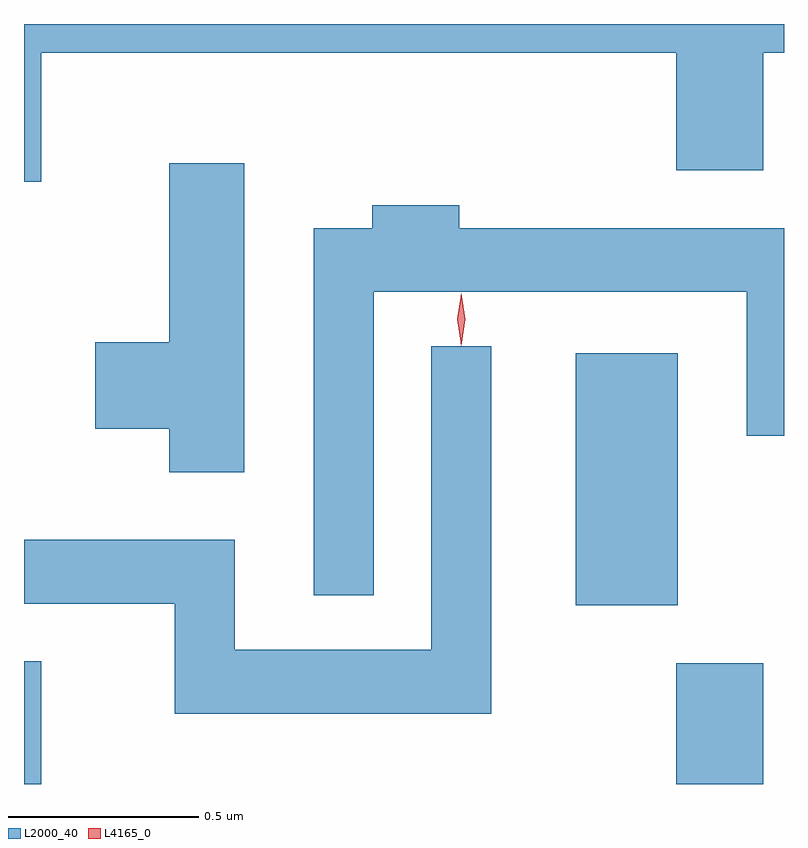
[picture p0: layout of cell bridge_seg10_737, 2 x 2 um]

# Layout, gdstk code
import gdstk
lib = gdstk.Library(unit=1e-6, precision=1e-09)
def R(c, l, rs):  # rectangles x0, y0, x1, y1
    for r in rs: c.add(gdstk.rectangle(r[:2], r[2:], *l))
def P(c, l, *ps):  # polygons
    for p in ps: c.add(gdstk.Polygon(p, *l))
L2000_40 = (2000, 40)
L4165_0 = (4165, 0)

bridge_seg10_737 = lib.new_cell('bridge_seg10_737')
R(bridge_seg10_737, L2000_40, [(1051.114,2114.211,1051.159,2114.534), (1052.831,2114.211,1053.059,2114.529), (1052.566,2114.681,1052.834,2115.344)])
P(bridge_seg10_737, L2000_40, [(1051.159,2116.136),(1052.831,2116.136),(1052.831,2115.826),(1053.059,2115.826),(1053.059,2116.136),(1053.114,2116.136),(1053.114,2116.211),(1051.114,2116.211),(1051.114,2115.796),(1051.159,2115.796)],
  [(1051.694,2115.844),(1051.496,2115.844),(1051.496,2115.374),(1051.301,2115.374),(1051.301,2115.146),(1051.496,2115.146),(1051.496,2115.031),(1051.694,2115.031)],
  [(1052.034,2115.506),(1053.016,2115.506),(1053.016,2115.128),(1053.114,2115.128),(1053.114,2115.674),(1052.259,2115.674),(1052.259,2115.734),(1052.031,2115.734),(1052.031,2115.674),(1051.876,2115.674),(1051.876,2114.708),(1052.034,2114.708)],
  [(1052.344,2115.363),(1052.186,2115.363),(1052.186,2114.564),(1051.669,2114.564),(1051.669,2114.854),(1051.114,2114.854),(1051.114,2114.686),(1051.511,2114.686),(1051.511,2114.396),(1052.344,2114.396)])
P(bridge_seg10_737, L4165_0, [(1052.264,2115.367),(1052.254,2115.434),(1052.264,2115.5),(1052.264,2115.5),(1052.265,2115.5),(1052.274,2115.434),(1052.265,2115.367),(1052.265,2115.367)],
  [(1052.264,2115.364),(1052.255,2115.434),(1052.264,2115.503),(1052.265,2115.503),(1052.265,2115.503),(1052.275,2115.434),(1052.265,2115.364),(1052.265,2115.364)])

lib.write_gds('bridge_seg10_737.gds')
